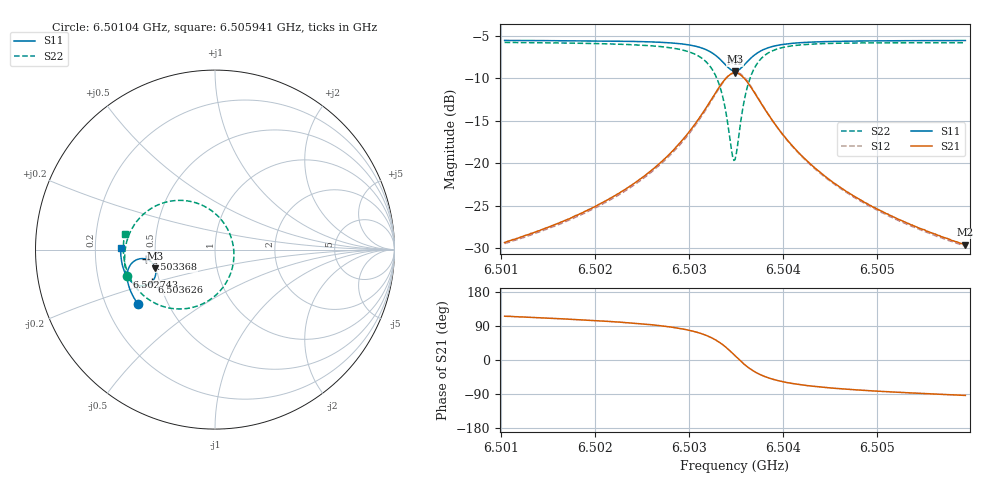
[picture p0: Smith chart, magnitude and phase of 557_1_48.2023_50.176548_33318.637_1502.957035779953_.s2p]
#  HZ  S  RI  R  50.00
! Rohde & Schwarz Vector Network Analyzer
! Rohde-Schwarz,ZNB20-2Port,1311601062101988,3.16
! Created: UTC 3/20/2024, 12:01:01 PM
! freq[Hz]  re:S11  im:S11  re:S21  im:S21  re:S12  im:S12  re:S22  im:S22
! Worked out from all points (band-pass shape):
!   401 points, 6.50104 GHz to 6.505941 GHz, reference 50 ohm
!   highest |S21| = -9.37 dB at 6.503491 GHz (marker M1); lowest = -29.5 dB at 6.505941 GHz (marker M2)
!   |S21| within 3 dB of the highest: 6.503246 GHz to 6.503736 GHz (490.3 kHz wide, 0.00754 % of centre)
!   lowest |S11| = -9.2 dB at 6.503491 GHz (marker M3), VSWR 2.07, Z = 24.6 - j5.79 ohm
!   |S11| at or under -10 dB: nowhere
!   |S22| runs from -19.7 to -5.8 dB; largest |S21 - S12| = 0.012
!   S11 on the Smith chart (normalised r, x): 6.50104 GHz: 0.34, -0.28; 6.502743 GHz: 0.33, -0.14; 6.503368 GHz: 0.44, -0.05; 6.503626 GHz: 0.45, -0.19; 6.505941 GHz: 0.31, +0.01
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6.5010404e9  -0.4303 -0.3043  -0.0148 0.0309  -0.0131 0.0312  -0.4916 -0.1475
6.5018613e9  -0.4651 -0.2429  -0.0139 0.0491  -0.0116 0.0488  -0.5036 -0.059
6.5023391e9  -0.4814 -0.1995  -0.0106 0.0705  -0.00755 0.0694  -0.499 0.0112
6.5026821e9  -0.4889 -0.1606  -0.00144 0.0991  0.0021 0.0968  -0.4792 0.0826
6.5027434e9  -0.4895 -0.1523  0.00177 0.1064  0.00539 0.1038  -0.4721 0.0987
6.5029639e9  -0.4858 -0.1172  0.0239 0.1418  0.0275 0.1376  -0.4259 0.1696
6.5031232e9  -0.4711 -0.0849  0.0633 0.178  0.066 0.1724  -0.3493 0.2331
6.5032702e9  -0.4333 -0.0551  0.1452 0.2068  0.1457 0.2007  -0.2003 0.2743
6.5033682e9  -0.3865 -0.0522  0.2368 0.1904  0.2368 0.1859  -0.0417 0.2318
6.503454e9  -0.3435 -0.0813  0.3153 0.1158  0.3178 0.1119  0.0839 0.0848
6.5034785e9  -0.3353 -0.0956  0.3288 0.0838  0.3322 0.0793  0.101 0.0249
6.5034907e9  -0.3326 -0.1035  0.3332 0.067  0.337 0.0618  0.105 -0.00673
6.5035152e9  -0.3294 -0.1198  0.3367 0.0322  0.3408 0.0257  0.1026 -0.0703
6.503552e9  -0.3316 -0.144  0.3294 -0.0183  0.3333 -0.0268  0.0756 -0.1597
6.5036255e9  -0.3537 -0.1813  0.2827 -0.0949  0.2831 -0.1063  -0.0345 -0.2835
6.5037358e9  -0.3997 -0.2016  0.1955 -0.1406  0.1905 -0.1504  -0.2112 -0.3305
6.503895e9  -0.4471 -0.1922  0.1113 -0.1368  0.1043 -0.1421  -0.363 -0.282
6.5040666e9  -0.4751 -0.1708  0.0655 -0.1158  0.0591 -0.1182  -0.437 -0.2154
6.5043116e9  -0.4962 -0.141  0.0348 -0.0906  0.0299 -0.0912  -0.4813 -0.1418
6.5046547e9  -0.5111 -0.1044  0.0162 -0.0678  0.0127 -0.0674  -0.5035 -0.0704
6.5051325e9  -0.5213 -0.0596  0.00516 -0.0494  0.00297 -0.0488  -0.5107 -0.000516
6.5059411e9  -0.5265 0.00943  -0.00204 -0.0332  -0.0034 -0.0325  -0.5033 0.0866
